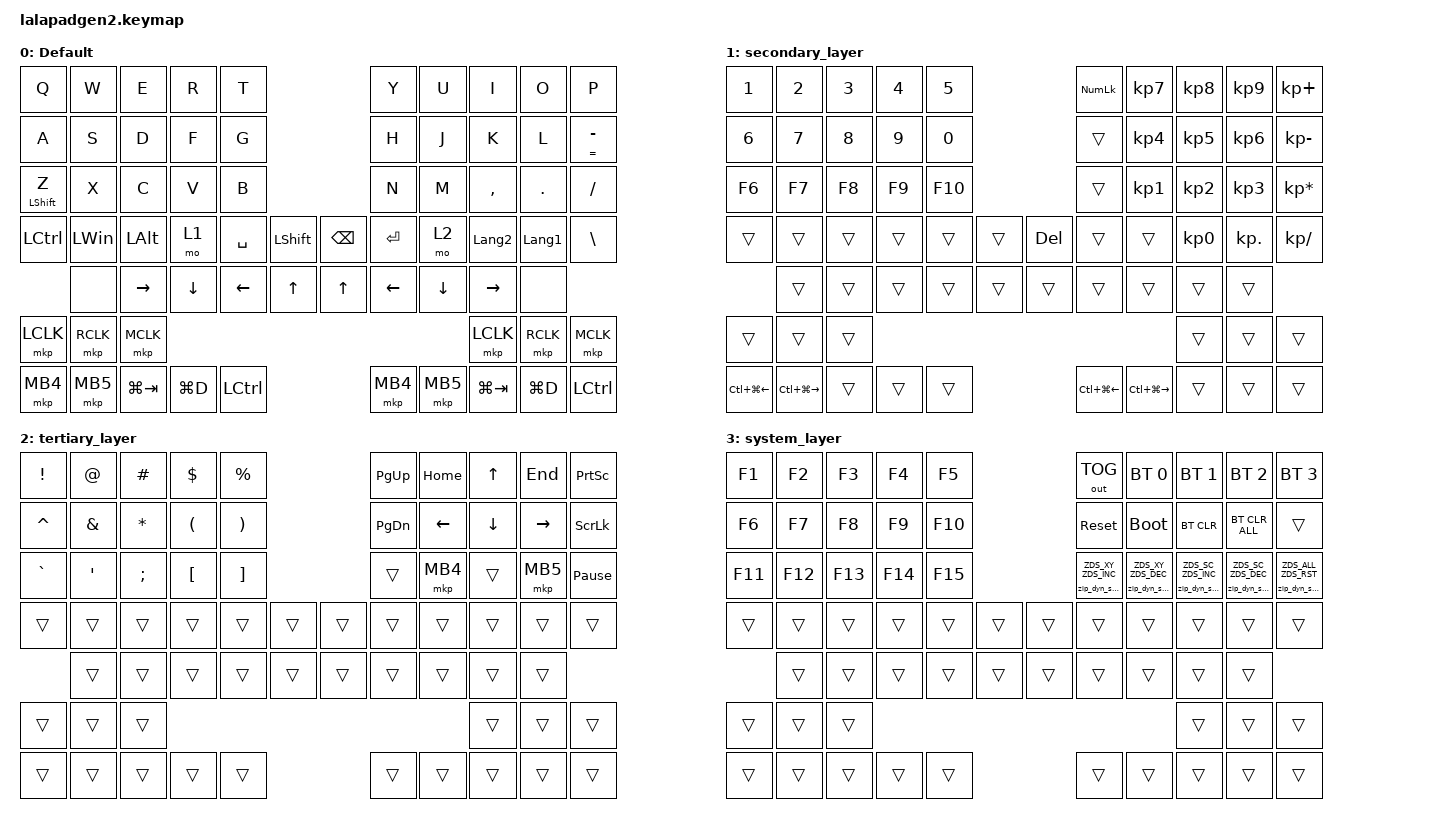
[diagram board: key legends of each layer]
#include <input/processors.dtsi>
#include <dt-bindings/zmk/zip_dynamic_scale.h>
#include <behaviors.dtsi>
#include <dt-bindings/zmk/bt.h>
#include <dt-bindings/zmk/keys.h>
#include <dt-bindings/zmk/outputs.h>
#include <dt-bindings/zmk/pointing.h>

#define DEFAULT_LAYER   0
#define SECONDARY_LAYER 1
#define TERTIARY_LAYER  2
#define SYSTEM_LAYER    3

&mt { quick-tap-ms = <200>; };

&lt { quick-tap-ms = <200>; };

/ {
    behaviors {
        zip_dyn_scale: zip_dyn_scale {
            compatible = "zmk,behavior-zip-dynamic-scale";
            #binding-cells = <2>;
        };

        zip_dyn_scale_set: zip_dyn_scale_set {
            compatible = "zmk,behavior-zip-dynamic-scale-set";
            #binding-cells = <2>;
        };

        mt2: mod_tap2 {
            compatible = "zmk,behavior-hold-tap";
            #binding-cells = <2>;
            flavor = "tap-preferred";
            tapping-term-ms = <200>;
            quick-tap-ms = <200>;
            require-prior-idle-ms = <125>;
            bindings = <&kp>, <&kp>;
        };

        tap_dance_layer_1and2: tap_dance_layer_1and2 {
            compatible = "zmk,behavior-tap-dance";
            label = "td_mo12";
            #binding-cells = <0>;
            bindings = <&mo 1>, <&mo 2>;
        };
    };

    combos {
        compatible = "zmk,combos";

        CONBO_ESC {
            bindings = <&kp ESCAPE>;
            key-positions = <0 1>;
        };

        COMBO_TAB {
            bindings = <&kp TAB>;
            key-positions = <10 11>;
        };
    };

    keymap {
        compatible = "zmk,keymap";

        DEFAULT_LAYER {
            display-name = "Default";
            bindings = <
&kp Q              &kp W      &kp E         &kp R      &kp T                                     &kp Y      &kp U     &kp I           &kp O           &kp P
&kp A              &kp S      &kp D         &kp F      &kp G                                     &kp H      &kp J     &kp K           &kp L           &mt2 EQUAL MINUS
&mt2 LEFT_SHIFT Z  &kp X      &kp C         &kp V      &kp B                                     &kp N      &kp M     &kp COMMA       &kp PERIOD      &kp SLASH
&kp LCTRL          &kp LWIN   &kp LEFT_ALT  &mo 1      &kp SPACE  &kp LEFT_SHIFT  &kp BACKSPACE  &kp ENTER  &mo 2     &kp LANGUAGE_2  &kp LANGUAGE_1  &kp BACKSLASH
                   &none      &kp RIGHT     &kp DOWN   &kp LEFT   &kp UP          &kp UP         &kp LEFT   &kp DOWN  &kp RIGHT       &none
&mkp LCLK          &mkp RCLK  &mkp MCLK                                                                               &mkp LCLK       &mkp RCLK       &mkp MCLK
&mkp MB4           &mkp MB5   &kp LG(TAB)   &kp LG(D)  &kp LCTRL                                 &mkp MB4   &mkp MB5  &kp LG(TAB)     &kp LG(D)       &kp LCTRL
            >;
        };

        SECONDARY_LAYER {
            display-name = "secondary_layer";
            bindings = <
&kp NUMBER_1      &kp NUMBER_2       &kp NUMBER_3  &kp NUMBER_4  &kp N5                    &kp KP_NUMLOCK    &kp KP_NUMBER_7    &kp KP_NUMBER_8  &kp KP_NUMBER_9  &kp KP_PLUS
&kp NUMBER_6      &kp N7             &kp N8        &kp N9        &kp N0                    &trans            &kp KP_NUMBER_4    &kp KP_NUMBER_5  &kp KP_NUMBER_6  &kp KP_MINUS
&kp F6            &kp F7             &kp F8        &kp F9        &kp F10                   &trans            &kp KP_NUMBER_1    &kp KP_NUMBER_2  &kp KP_NUMBER_3  &kp KP_ASTERISK
&trans            &trans             &trans        &trans        &trans   &trans  &kp DEL  &trans            &trans             &kp KP_NUMBER_0  &kp KP_DOT       &kp KP_DIVIDE
                  &trans             &trans        &trans        &trans   &trans  &trans   &trans            &trans             &trans           &trans
&trans            &trans             &trans                                                                                     &trans           &trans           &trans
&kp LC(LG(LEFT))  &kp LC(LG(RIGHT))  &trans        &trans        &trans                    &kp LC(LG(LEFT))  &kp LC(LG(RIGHT))  &trans           &trans           &trans
            >;
        };

        TERTIARY_LAYER {
            display-name = "tertiary_layer";
            bindings = <
&kp EXCLAMATION  &kp AT_SIGN    &kp HASH      &kp DOLLAR            &kp PERCENT                            &kp PAGE_UP    &kp HOME  &kp UP_ARROW    &kp END    &kp PRINTSCREEN
&kp CARET        &kp AMPERSAND  &kp ASTERISK  &kp LEFT_PARENTHESIS  &kp RIGHT_PARENTHESIS                  &kp PAGE_DOWN  &kp LEFT  &kp DOWN_ARROW  &kp RIGHT  &kp SCROLLLOCK
&kp GRAVE        &kp SQT        &kp SEMI      &kp LEFT_BRACKET      &kp RIGHT_BRACKET                      &trans         &mkp MB4  &trans          &mkp MB5   &kp PAUSE_BREAK
&trans           &trans         &trans        &trans                &trans                 &trans  &trans  &trans         &trans    &trans          &trans     &trans
                 &trans         &trans        &trans                &trans                 &trans  &trans  &trans         &trans    &trans          &trans
&trans           &trans         &trans                                                                                              &trans          &trans     &trans
&trans           &trans         &trans        &trans                &trans                                 &trans         &trans    &trans          &trans     &trans
            >;
        };

        SYSTEM_LAYER {
            display-name = "system_layer";
            bindings = <
&kp F1   &kp F2   &kp F3   &kp F4   &kp F5                   &out OUT_TOG                   &bt BT_SEL 0                   &bt BT_SEL 1                   &bt BT_SEL 2                   &bt BT_SEL 3
&kp F6   &kp F7   &kp F8   &kp F9   &kp F10                  &sys_reset                     &bootloader                    &bt BT_CLR                     &bt BT_CLR_ALL                 &trans
&kp F11  &kp F12  &kp F13  &kp F14  &kp F15                  &zip_dyn_scale ZDS_XY ZDS_INC  &zip_dyn_scale ZDS_XY ZDS_DEC  &zip_dyn_scale ZDS_SC ZDS_INC  &zip_dyn_scale ZDS_SC ZDS_DEC  &zip_dyn_scale ZDS_ALL ZDS_RST
&trans   &trans   &trans   &trans   &trans   &trans  &trans  &trans                         &trans                         &trans                         &trans                         &trans
         &trans   &trans   &trans   &trans   &trans  &trans  &trans                         &trans                         &trans                         &trans
&trans   &trans   &trans                                                                                                   &trans                         &trans                         &trans
&trans   &trans   &trans   &trans   &trans                   &trans                         &trans                         &trans                         &trans                         &trans
            >;
        };
    };

    conditional_layers {
        compatible = "zmk,conditional-layers";

        Cond_Syslayer {
            if-layers = <1 2>;
            then-layer = <3>;
        };
    };
};
&trackpad_listener_R {
    input-processors = <&trackpad_key_behaviors_R>,
                       <&zip_xy_scaler 1 3>,
                       <&zip_scroll_scaler 1 20>,
                       <&zip_scroll_transform INPUT_TRANSFORM_Y_INVERT>,
                       <&zip_dynamic_xy_scaler>,
                       <&zip_dynamic_scroll_scaler>;
    lowspeedmode {
        layers = <1>,<2>;
        input-processors = <&trackpad_key_behaviors_R>,
                           <&zip_xy_scaler 1 8>,
                           <&zip_scroll_scaler 1 40>,
                           <&zip_scroll_transform INPUT_TRANSFORM_Y_INVERT>,
                           <&zip_dynamic_xy_scaler>,
                           <&zip_dynamic_scroll_scaler>;
    };
};

&trackpad_listener_L {
    input-processors = <&trackpad_key_behaviors_L>,
                       <&zip_xy_scaler 1 3>,
                       <&zip_scroll_scaler 1 20>,
                       <&zip_scroll_transform INPUT_TRANSFORM_Y_INVERT>,
                       <&zip_dynamic_xy_scaler>,
                       <&zip_dynamic_scroll_scaler>;
    lowspeedmode {
        layers = <1>,<2>;
        input-processors = <&trackpad_key_behaviors_L>,
                           <&zip_xy_scaler 1 8>,
                           <&zip_scroll_scaler 1 40>,
                           <&zip_scroll_transform INPUT_TRANSFORM_Y_INVERT>,
                           <&zip_dynamic_xy_scaler>,
                           <&zip_dynamic_scroll_scaler>;
    };
};
